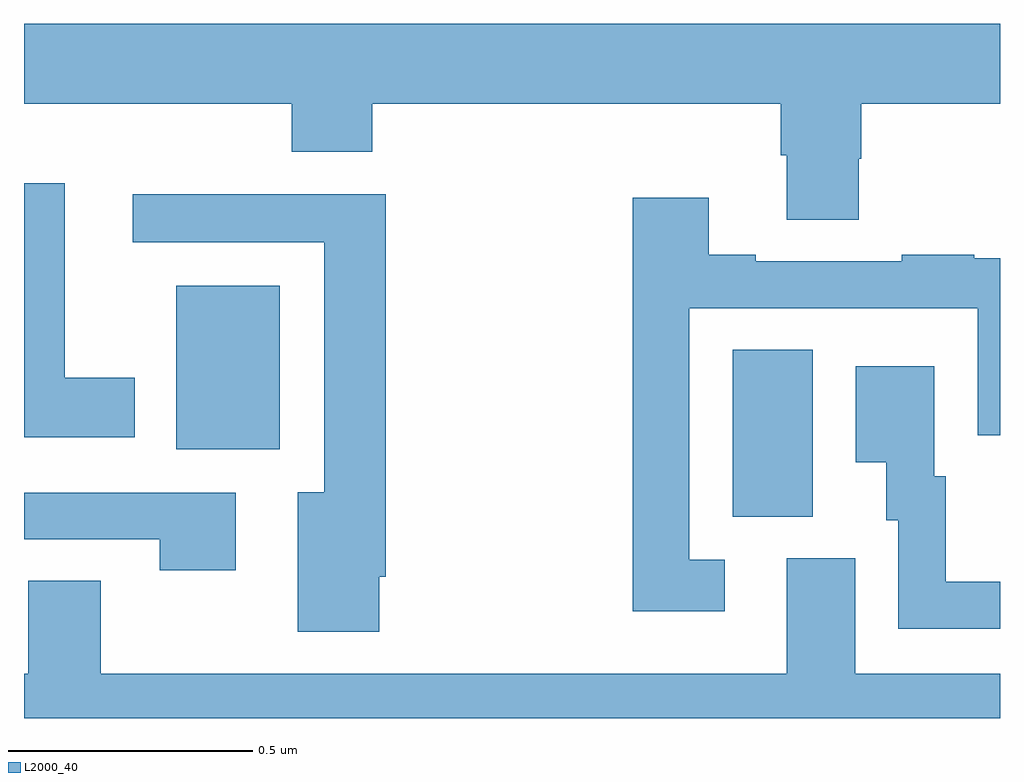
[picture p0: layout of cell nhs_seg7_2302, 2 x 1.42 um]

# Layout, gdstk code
import gdstk
lib = gdstk.Library(unit=1e-6, precision=1e-09)
def R(c, l, rs):  # rectangles x0, y0, x1, y1
    for r in rs: c.add(gdstk.rectangle(r[:2], r[2:], *l))
def P(c, l, *ps):  # polygons
    for p in ps: c.add(gdstk.Polygon(p, *l))
L2000_40 = (2000, 40)

nhs_seg7_2302 = lib.new_cell('nhs_seg7_2302')
R(nhs_seg7_2302, L2000_40, [(144.452,1022.413,144.616,1022.756), (143.312,1022.552,143.524,1022.887)])
P(nhs_seg7_2302, L2000_40, [(144.711,1023.147),(144.716,1023.147),(144.716,1023.26),(145,1023.26),(145,1023.424),(143,1023.424),(143,1023.26),(143.549,1023.26),(143.549,1023.161),(143.714,1023.161),(143.714,1023.26),(144.551,1023.26),(144.551,1023.154),(144.563,1023.154),(144.563,1023.022),(144.711,1023.022)],
  [(143.227,1022.698),(143.083,1022.698),(143.083,1023.097),(143,1023.097),(143,1022.576),(143.227,1022.576)],
  [(143.728,1022.29),(143.741,1022.29),(143.741,1023.074),(143.223,1023.074),(143.223,1022.976),(143.615,1022.976),(143.615,1022.464),(143.561,1022.464),(143.561,1022.178),(143.728,1022.178)],
  [(144.436,1022.325),(144.363,1022.325),(144.363,1022.841),(144.954,1022.841),(144.954,1022.58),(145,1022.58),(145,1022.943),(144.947,1022.943),(144.947,1022.95),(144.799,1022.95),(144.799,1022.937),(144.499,1022.937),(144.499,1022.95),(144.403,1022.95),(144.403,1023.067),(144.247,1023.067),(144.247,1022.22),(144.436,1022.22)],
  [(145,1022.28),(144.889,1022.28),(144.889,1022.496),(144.865,1022.496),(144.865,1022.722),(144.704,1022.722),(144.704,1022.525),(144.767,1022.525),(144.767,1022.406),(144.792,1022.406),(144.792,1022.184),(145,1022.184)],
  [(143.434,1022.463),(143,1022.463),(143,1022.367),(143.278,1022.367),(143.278,1022.304),(143.434,1022.304)],
  [(145,1022.092),(144.703,1022.092),(144.703,1022.328),(144.563,1022.328),(144.563,1022.092),(143.157,1022.092),(143.157,1022.282),(143.009,1022.282),(143.009,1022.092),(143,1022.092),(143,1022),(145,1022)])

lib.write_gds('nhs_seg7_2302.gds')
